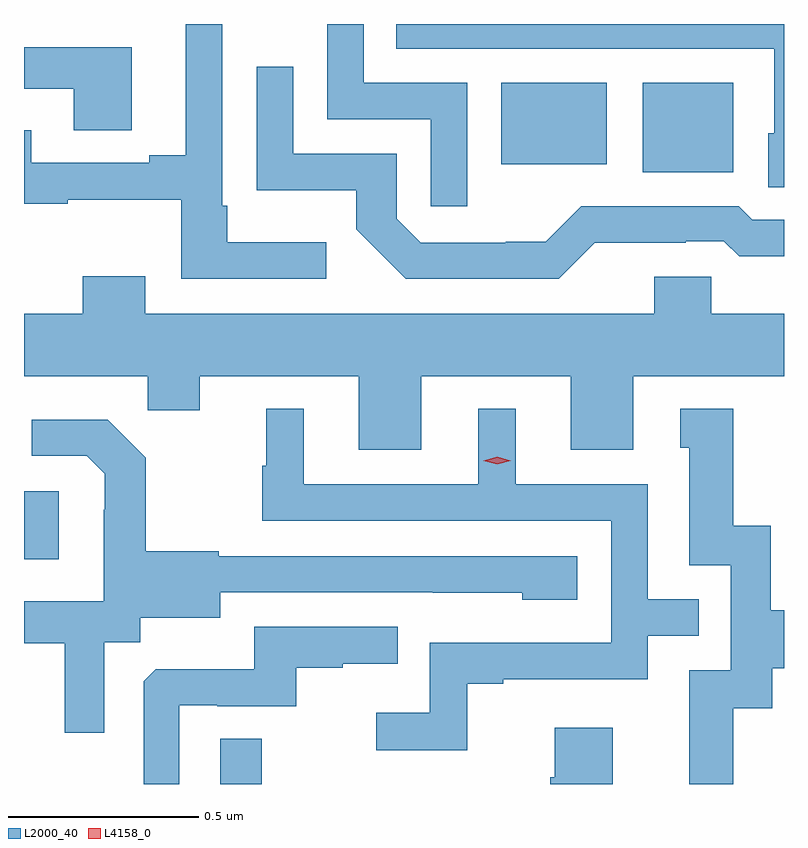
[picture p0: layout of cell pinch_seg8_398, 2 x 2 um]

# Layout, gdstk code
import gdstk
lib = gdstk.Library(unit=1e-6, precision=1e-09)
def R(c, l, rs):  # rectangles x0, y0, x1, y1
    for r in rs: c.add(gdstk.rectangle(r[:2], r[2:], *l))
def P(c, l, *ps):  # polygons
    for p in ps: c.add(gdstk.Polygon(p, *l))
L2000_40 = (2000, 40)
L4158_0 = (4158, 0)

pinch_seg8_398 = lib.new_cell('pinch_seg8_398')
R(pinch_seg8_398, L2000_40, [(414.372,1104.771,414.481,1104.89), (413.856,1105.362,413.947,1105.542), (415.484,1106.381,415.723,1106.617), (415.112,1106.402,415.39,1106.617)])
P(pinch_seg8_398, L2000_40, [(414.652,1106.197),(414.391,1106.197),(414.391,1106.293),(414.378,1106.293),(414.378,1106.771),(414.281,1106.771),(414.281,1106.425),(414.185,1106.425),(414.185,1106.406),(413.875,1106.406),(413.875,1106.491),(413.856,1106.491),(413.856,1106.298),(413.971,1106.298),(413.971,1106.309),(414.27,1106.309),(414.27,1106.1),(414.652,1106.1)],
  [(415.023,1106.616),(414.75,1106.616),(414.75,1106.771),(414.654,1106.771),(414.654,1106.52),(414.927,1106.52),(414.927,1106.292),(415.023,1106.292)],
  [(415.856,1106.771),(414.835,1106.771),(414.835,1106.706),(415.83,1106.706),(415.83,1106.484),(415.814,1106.484),(415.814,1106.341),(415.856,1106.341)],
  [(414.139,1106.71),(413.856,1106.71),(413.856,1106.6),(413.987,1106.6),(413.987,1106.491),(414.139,1106.491)],
  [(415.358,1106.195),(415.598,1106.195),(415.598,1106.199),(415.698,1106.199),(415.738,1106.16),(415.856,1106.16),(415.856,1106.256),(415.773,1106.256),(415.737,1106.292),(415.323,1106.292),(415.229,1106.198),(415.124,1106.198),(415.124,1106.196),(414.9,1106.196),(414.837,1106.259),(414.837,1106.43),(414.564,1106.43),(414.564,1106.659),(414.468,1106.659),(414.468,1106.333),(414.73,1106.333),(414.73,1106.231),(414.86,1106.1),(415.263,1106.1)],
  [(414.901,1105.844),(415.295,1105.844),(415.295,1105.65),(415.459,1105.65),(415.459,1105.844),(415.856,1105.844),(415.856,1106.008),(415.665,1106.008),(415.665,1106.106),(415.514,1106.106),(415.514,1106.008),(414.175,1106.008),(414.175,1106.107),(414.011,1106.107),(414.011,1106.008),(413.856,1106.008),(413.856,1105.844),(414.181,1105.844),(414.181,1105.754),(414.319,1105.754),(414.319,1105.844),(414.737,1105.844),(414.737,1105.65),(414.901,1105.65)],
  [(415.723,1104.97),(415.825,1104.97),(415.825,1105.076),(415.856,1105.076),(415.856,1105.228),(415.821,1105.228),(415.821,1105.451),(415.723,1105.451),(415.723,1105.759),(415.583,1105.759),(415.583,1105.656),(415.607,1105.656),(415.607,1105.347),(415.716,1105.347),(415.716,1105.071),(415.607,1105.071),(415.607,1104.771),(415.723,1104.771)],
  [(415.023,1105.035),(415.117,1105.035),(415.117,1105.047),(415.497,1105.047),(415.497,1105.161),(415.631,1105.161),(415.631,1105.257),(415.497,1105.257),(415.497,1105.56),(415.15,1105.56),(415.15,1105.759),(415.052,1105.759),(415.052,1105.56),(414.592,1105.56),(414.592,1105.759),(414.494,1105.759),(414.494,1105.608),(414.483,1105.608),(414.483,1105.464),(415.401,1105.464),(415.401,1105.143),(414.924,1105.143),(414.924,1104.958),(414.783,1104.958),(414.783,1104.86),(415.023,1104.86)],
  [(414.067,1105.144),(414.162,1105.144),(414.162,1105.208),(414.373,1105.208),(414.373,1105.275),(414.931,1105.275),(414.931,1105.274),(415.167,1105.274),(415.167,1105.256),(415.312,1105.256),(415.312,1105.371),(414.369,1105.371),(414.369,1105.384),(414.177,1105.384),(414.177,1105.629),(414.077,1105.729),(413.877,1105.729),(413.877,1105.635),(414.021,1105.635),(414.068,1105.588),(414.068,1105.493),(414.066,1105.493),(414.066,1105.252),(413.856,1105.252),(413.856,1105.142),(413.963,1105.142),(413.963,1104.906),(414.067,1104.906)],
  [(414.264,1104.978),(414.364,1104.978),(414.364,1104.975),(414.572,1104.975),(414.572,1105.077),(414.695,1105.077),(414.695,1105.088),(414.839,1105.088),(414.839,1105.185),(414.462,1105.185),(414.462,1105.073),(414.203,1105.073),(414.171,1105.041),(414.171,1104.771),(414.264,1104.771)],
  [(415.405,1104.919),(415.253,1104.919),(415.253,1104.789),(415.241,1104.789),(415.241,1104.771),(415.405,1104.771)])
P(pinch_seg8_398, L4158_0, [(415.101,1105.612),(415.065,1105.622),(415.065,1105.622),(415.065,1105.622),(415.101,1105.632),(415.137,1105.622),(415.137,1105.622),(415.137,1105.622)])

lib.write_gds('pinch_seg8_398.gds')
